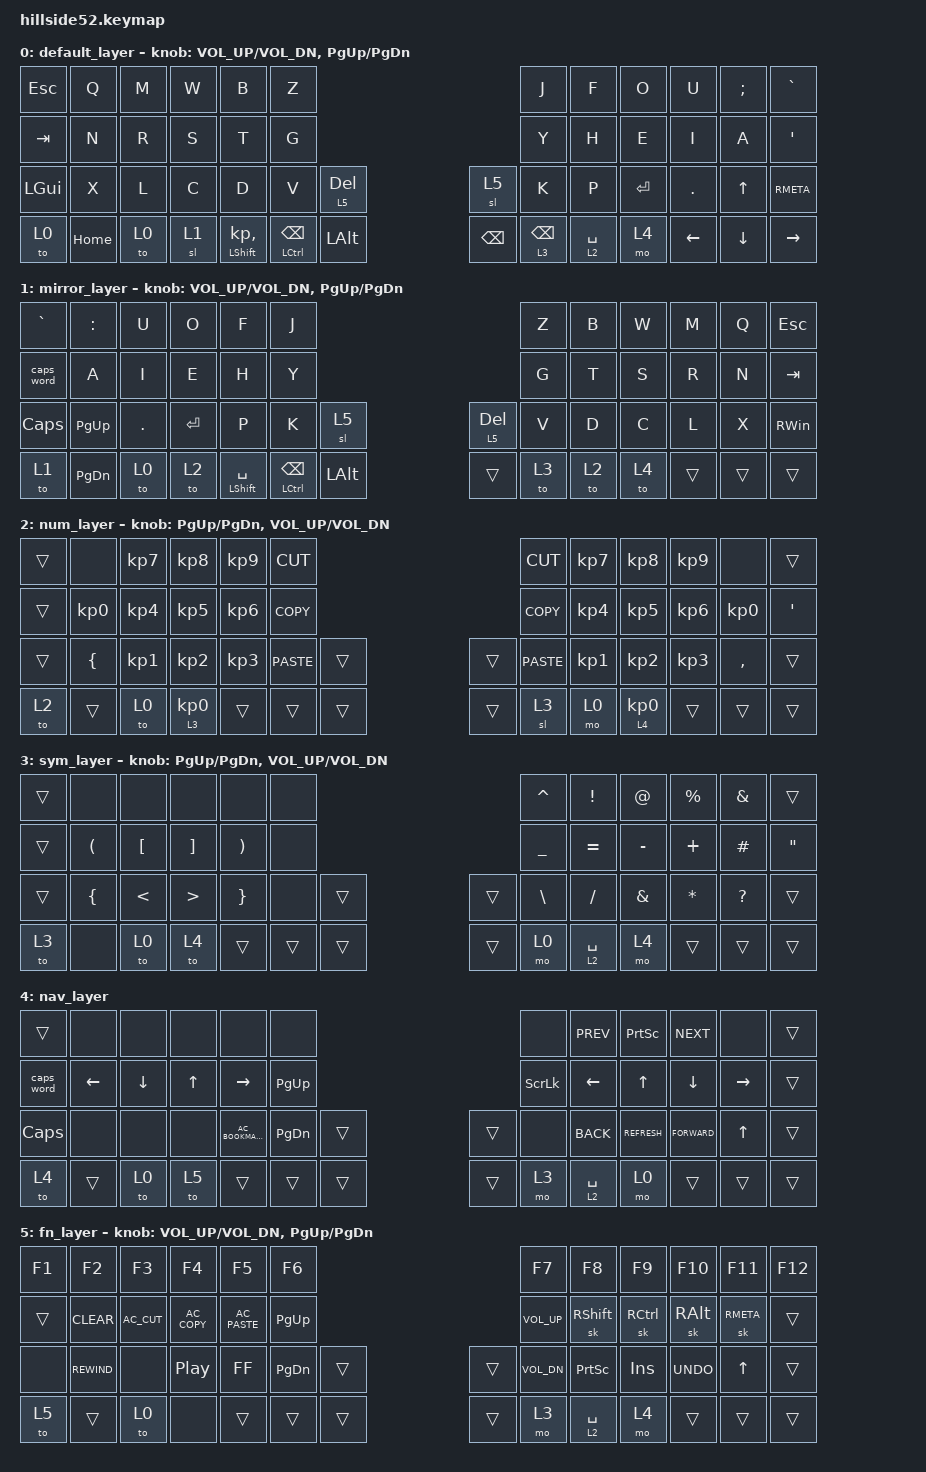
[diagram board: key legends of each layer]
/*
 * Copyright (c) 2021-2022 The ZMK Contributors
 *
 * SPDX-License-Identifier: MIT
 */

#include <behaviors.dtsi>
#include <dt-bindings/zmk/keys.h>

#define QWERTY_L 0
#define DVORAK_L 1
#define COLEMK_L 2
#define NAV_L    3
#define SYM_L    4
#define ADJ_L    5
#define Undo   LC(Z)
#define Cut    LC(X)
#define Copy   LC(C)
#define Paste  LC(V)
#define Redo   LC(Y)

/ {
    combos {
        compatible = "zmk,combos";

        print_screen {
            bindings = <&kp PRINTSCREEN>;
            key-positions = <2 3>;
        };
    };

    keymap {
        compatible = "zmk,keymap";

        default_layer {
            /* QWERTY
 * -------------------------------------------------------------------------------------------------------------------------------------
 * | ESC   |   Q   |   M   |   W   |   B   |   Z   |-----------------------------------|   J   |   F   |   O   |   U   |   ;   | ADJ_L |
 * | TAB   |   N   |   R   |   S   |   T   |   G   |-----------------------------------|   H   |   J   |   K   |   L   |   A   |   '   |
 * | GUI   |   X   |   L   |   C   |   D   |   V   |  DEL  |-------------------|DVORAK_L|  K   |   P   |   ,   |   .   |  Up   | ENTER |
 * | ENTER |  ESC  | CTRL  |-------| ALT   | SHIFT |  CTRL |  Nav  |---|  Sym  | BKSPC | SPACE | /     |-------| Left  | Down  | Right |
 */

            bindings = <
 &kp ESC     &kp Q  &kp M  &kp W  &kp B               &kp Z                                                        &kp J  &kp F      &kp O     &kp U  &kp SEMI  &kp GRAVE
 &kp TAB     &kp N  &kp R  &kp S  &kp T               &kp G                                                        &kp Y  &kp H      &kp E     &kp I     &kp A    &kp SQT
&kp LGUI     &kp X  &kp L  &kp C  &kp D               &kp V    &lt 5 DELETE                           &sl 5        &kp K  &kp P  &kp ENTER   &kp DOT    &kp UP  &kp RMETA
   &to 0  &kp HOME  &to 0         &sl 1  &mt LSHFT KP_COMMA  &mt LCTRL BSPC  &kp LALT  &kp BSPC  &lt 3 BSPC  &lt 2 SPACE  &mo 4             &kp LEFT  &kp DOWN  &kp RIGHT
            >;

            sensor-bindings = <&inc_dec_kp C_VOL_UP C_VOL_DN &inc_dec_kp PG_UP PG_DN>;
        };

        mirror_layer {
            /* DVORAK
 * -------------------------------------------------------------------------------------------------------------------------------------
 * | `     |   '   |   ,   |   .   |   P   |   Y   |-----------------------------------|   S   |   7   |   8   |   9   |   L   | ADJ_L |
 * | TAB   |   A   |   O   |   E   |   U   |   I   |-----------------------------------|   S   |   4   |   5   |   6   |   S   | ENTER |
 * | SHIFT |   ;   |   Q   |   J   |   K   |   X   |   Z   |-------------------|   /   |   S   |   1   |   2   |   3   |  Up   | SHIFT |
 * | Mute  |  ESC  | CTRL  |-------|  GUI  |  ALT  |SK SHFT|  Nav  |---|  Sym  | SPACE |  ALT  |  0    |-------| Left  | Down  | Right |
 */

            bindings = <
 &kp GRAVE  &kp COLON       &kp U      &kp O  &kp F            &kp J                                                   &kp Z  &kp B  &kp W   &kp M   &kp Q        &kp ESC
&caps_word      &kp A       &kp I      &kp E  &kp H            &kp Y                                                   &kp G  &kp T  &kp S   &kp R   &kp N        &kp TAB
  &kp CAPS  &kp PG_UP  &kp PERIOD  &kp ENTER  &kp P            &kp K           &sl 5                        &lt 5 DEL  &kp V  &kp D  &kp C   &kp L   &kp X  &kp RIGHT_WIN
     &to 1  &kp PG_DN       &to 0             &to 2  &mt LSHFT SPACE  &mt LCTRL BSPC  &kp LEFT_ALT  &trans      &to 3  &to 2  &to 4         &trans  &trans         &trans
            >;

            sensor-bindings = <&inc_dec_kp C_VOL_UP C_VOL_DN &inc_dec_kp PG_UP PG_DN>;
        };

        num_layer {
            /* SYM
 * -------------------------------------------------------------------------------------------------------------------------------------
 * | INS   |   !   |   @   |   #   |   $   |   %   |-----------------------------------|   ^   |   &   |   *   |   (   |   )   | DELETE|
 * | CAPS  |   \   |   -   |   =   |   [   |   ]   |-----------------------------------| Vol+  | Shift | Ctrl  | Alt   | Gui   | ENTER |
 * | Shift |   |   |   _   |   +   |   {   |   }   | Play  |-------------------| Mute  | Vol-  |  N0   |  N1   |  N2   |       | SHIFT |
 * |       |       |       |-------|       |       |       |  ADJ_L |---|      |       |       |       |-------| CTRL  | MENU  |SkAltGr|
 */

            bindings = <
&trans           &none  &kp KP_N7  &kp KP_N8    &kp KP_N9    &kp K_CUT                                    &kp K_CUT  &kp KP_NUMBER_7  &kp KP_N8  &kp KP_N9      &none   &trans
&trans       &kp KP_N0  &kp KP_N4  &kp KP_N5    &kp KP_N6   &kp K_COPY                                   &kp K_COPY        &kp KP_N4  &kp KP_N5  &kp KP_N6  &kp KP_N0  &kp SQT
&trans  &kp LEFT_BRACE  &kp KP_N1  &kp KP_N2    &kp KP_N3  &kp K_PASTE  &trans                  &trans  &kp K_PASTE        &kp KP_N1  &kp KP_N2  &kp KP_N3  &kp COMMA   &trans
 &to 2          &trans      &to 0             &lt 3 KP_N0       &trans  &trans  &trans  &trans   &sl 3        &mo 0      &lt 4 KP_N0                &trans     &trans   &trans
            >;

            sensor-bindings = <&inc_dec_kp PG_UP PG_DN &inc_dec_kp C_VOL_UP C_VOL_DN>;
        };

        sym_layer {
            /* NAV
 * -------------------------------------------------------------------------------------------------------------------------------------
 * | Copy  |   1   |   2   |   3   |   4   |   5   |-----------------------------------|   6   |   7   |   8   |   9   |   0   | BSPC  |
 * | Cut   |  GUI  |  Alt  | Ctrl  | Shift | Paste |-----------------------------------| PG UP |  Left |  Up   |  Down | Right | PG DN |
 * | Shift |  F1   |  F2   |  F3   |  F4   |  F5   |  UnDo |-------------------| ReDo  |  F6   |  F7   |  F8   |  F9   |  F10  | Shift |
 * | F11   |  F12  |       |-------|       |       |       |       |---| ADJ_L |       |       |       |-------| CTRL  | HOME  |  END  |
 */

            bindings = <
&trans                 &none             &none              &none                  &none   &none                                      &kp CARET  &kp EXCLAMATION     &kp AT  &kp PERCENT  &kp AMPERSAND             &trans
&trans  &kp LEFT_PARENTHESIS  &kp LEFT_BRACKET  &kp RIGHT_BRACKET  &kp RIGHT_PARENTHESIS   &none                                      &kp UNDER        &kp EQUAL  &kp MINUS     &kp PLUS       &kp HASH  &kp DOUBLE_QUOTES
&trans        &kp LEFT_BRACE     &kp LESS_THAN   &kp GREATER_THAN        &kp RIGHT_BRACE   &none  &trans                  &trans  &kp BACKSLASH        &kp SLASH   &kp AMPS    &kp ASTRK   &kp QUESTION             &trans
 &to 3                 &none             &to 0                                     &to 4  &trans  &trans  &trans  &trans   &mo 0    &lt 2 SPACE            &mo 4                  &trans         &trans             &trans
            >;

            sensor-bindings = <&inc_dec_kp PG_UP PG_DN &inc_dec_kp C_VOL_UP C_VOL_DN>;
        };

        nav_layer {
            bindings = <
    &trans     &none     &none   &none               &none      &none                                           &none  &kp K_PREV  &kp PRINTSCREEN     &kp K_NEXT      &none  &trans
&caps_word  &kp LEFT  &kp DOWN  &kp UP           &kp RIGHT  &kp PG_UP                                  &kp SCROLLLOCK    &kp LEFT           &kp UP       &kp DOWN  &kp RIGHT  &trans
  &kp CAPS     &none     &none   &none  &kp C_AC_BOOKMARKS  &kp PG_DN  &trans                  &trans           &none  &kp K_BACK    &kp K_REFRESH  &kp K_FORWARD     &kp UP  &trans
     &to 4    &trans     &to 0                       &to 5     &trans  &trans  &trans  &trans   &mo 3     &lt 2 SPACE       &mo 0                          &trans     &trans  &trans
            >;
        };

        fn_layer {
            /* COLEMAK-DH
 * -------------------------------------------------------------------------------------------------------------------------------------
 * | `     |   Q   |   W   |   F   |   P   |   B   |-----------------------------------|   J   |   L   |   U   |   Y   |   ;   | BKSPC |
 * | TAB   |   A   |   R   |   S   |   T   |   G   |-----------------------------------|   M   |   N   |   E   |   I   |   O   | ENTER |
 * | SHIFT |   Z   |   X   |   C   |   D   |   V   |   '   |-------------------|   /   |   K   |   H   |   ,   |   .   |  Up   | SHIFT |
 * | Mute  |  ESC  | CTRL  |-------|  GUI  |  ALT  |SK SHFT|  Nav  |---|  Sym  | SPACE |  ALT  |  GUI  |-------| Left  | Down  | Right |
 */

            bindings = <
&kp F1        &kp F2        &kp F3            &kp F4          &kp F5     &kp F6                                        &kp F7           &kp F8      &kp F9     &kp F10       &kp F11  &kp F12
&trans     &kp CLEAR  &kp C_AC_CUT     &kp C_AC_COPY  &kp C_AC_PASTE  &kp PG_UP                                  &kp C_VOL_UP        &sk RSHFT   &sk RCTRL    &sk RALT     &sk RMETA   &trans
 &none  &kp C_REWIND         &none  &kp C_PLAY_PAUSE        &kp C_FF  &kp PG_DN  &trans                  &trans  &kp C_VOL_DN  &kp PRINTSCREEN  &kp INSERT  &kp K_UNDO  &kp UP_ARROW   &trans
 &to 5        &trans         &to 0                             &none     &trans  &trans  &trans  &trans   &mo 3   &lt 2 SPACE            &mo 4                  &trans        &trans   &trans
            >;

            sensor-bindings = <&inc_dec_kp C_VOL_UP C_VOL_DN &inc_dec_kp PG_UP PG_DN>;
        };
    };
};
